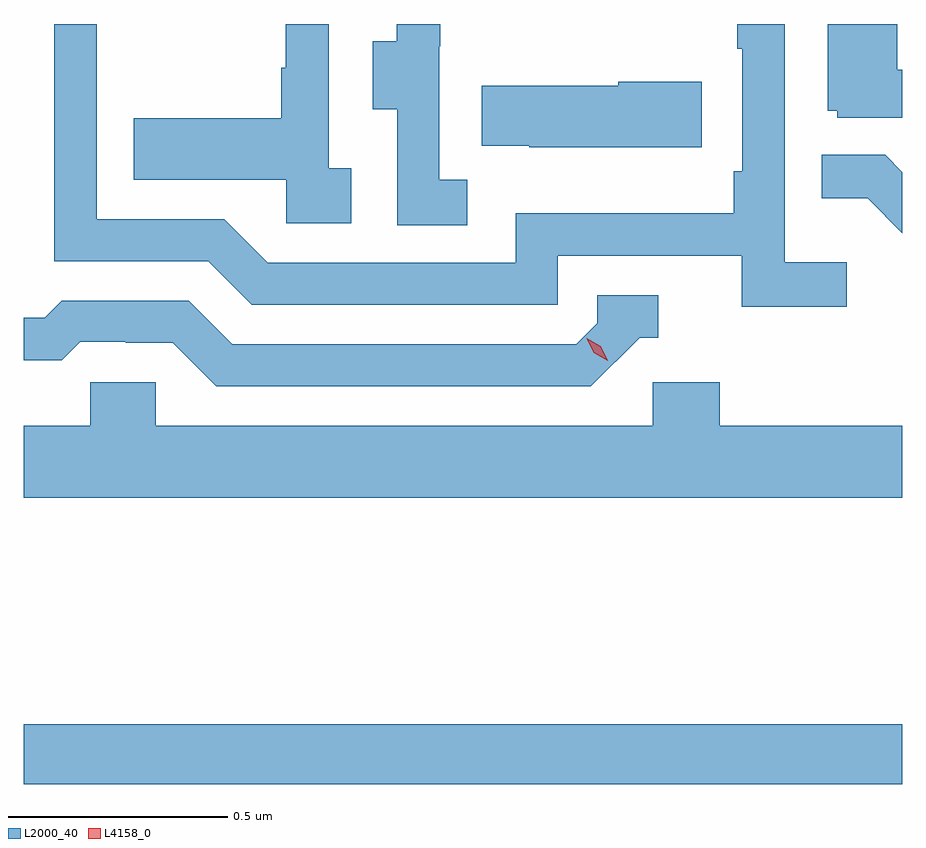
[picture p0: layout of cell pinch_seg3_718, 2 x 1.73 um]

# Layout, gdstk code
import gdstk
lib = gdstk.Library(unit=1e-6, precision=1e-09)
def R(c, l, rs):  # rectangles x0, y0, x1, y1
    for r in rs: c.add(gdstk.rectangle(r[:2], r[2:], *l))
def P(c, l, *ps):  # polygons
    for p in ps: c.add(gdstk.Polygon(p, *l))
L2000_40 = (2000, 40)
L4158_0 = (4158, 0)

pinch_seg3_718 = lib.new_cell('pinch_seg3_718')
R(pinch_seg3_718, L2000_40, [(1089.698,676.288,1091.698,676.424)])
P(pinch_seg3_718, L2000_40, [(1090.708,677.663),(1090.644,677.663),(1090.644,677.967),(1090.646,677.967),(1090.646,678.018),(1090.547,678.018),(1090.547,677.979),(1090.493,677.979),(1090.493,677.824),(1090.548,677.824),(1090.548,677.56),(1090.708,677.56)],
  [(1091.698,677.914),(1091.686,677.914),(1091.686,678.018),(1091.528,678.018),(1091.528,677.82),(1091.55,677.82),(1091.55,677.805),(1091.698,677.805)],
  [(1091.572,677.476),(1091.43,677.476),(1091.43,678.018),(1091.322,678.018),(1091.322,677.962),(1091.334,677.962),(1091.334,677.683),(1091.314,677.683),(1091.314,677.587),(1090.818,677.587),(1090.818,677.475),(1090.254,677.475),(1090.155,677.574),(1089.864,677.574),(1089.864,678.018),(1089.768,678.018),(1089.768,677.478),(1090.118,677.478),(1090.217,677.379),(1090.914,677.379),(1090.914,677.49),(1091.333,677.49),(1091.333,677.374),(1091.572,677.374)],
  [(1090.444,677.69),(1090.392,677.69),(1090.392,678.018),(1090.294,678.018),(1090.294,677.918),(1090.284,677.918),(1090.284,677.803),(1089.949,677.803),(1089.949,677.663),(1090.296,677.663),(1090.296,677.565),(1090.444,677.565)],
  [(1091.242,677.886),(1091.051,677.886),(1091.051,677.878),(1090.741,677.878),(1090.741,677.741),(1090.849,677.741),(1090.849,677.738),(1091.242,677.738)],
  [(1091.698,677.681),(1091.659,677.72),(1091.515,677.72),(1091.515,677.621),(1091.619,677.621),(1091.698,677.542)],
  [(1091.1,677.304),(1091.143,677.304),(1091.143,677.4),(1091.004,677.4),(1091.004,677.337),(1090.956,677.289),(1090.173,677.289),(1090.074,677.388),(1089.785,677.388),(1089.746,677.349),(1089.698,677.349),(1089.698,677.253),(1089.785,677.253),(1089.827,677.295),(1089.93,677.295),(1089.93,677.292),(1090.037,677.292),(1090.136,677.193),(1090.989,677.193)],
  [(1091.698,677.104),(1091.282,677.104),(1091.282,677.202),(1091.13,677.202),(1091.13,677.104),(1089.999,677.104),(1089.999,677.202),(1089.849,677.202),(1089.849,677.104),(1089.698,677.104),(1089.698,676.94),(1091.698,676.94)])
P(pinch_seg3_718, L4158_0, [(1091.027,677.251),(1090.996,677.27),(1090.98,677.303),(1090.98,677.303),(1090.98,677.303),(1091.011,677.284),(1091.027,677.251),(1091.027,677.251)])

lib.write_gds('pinch_seg3_718.gds')
